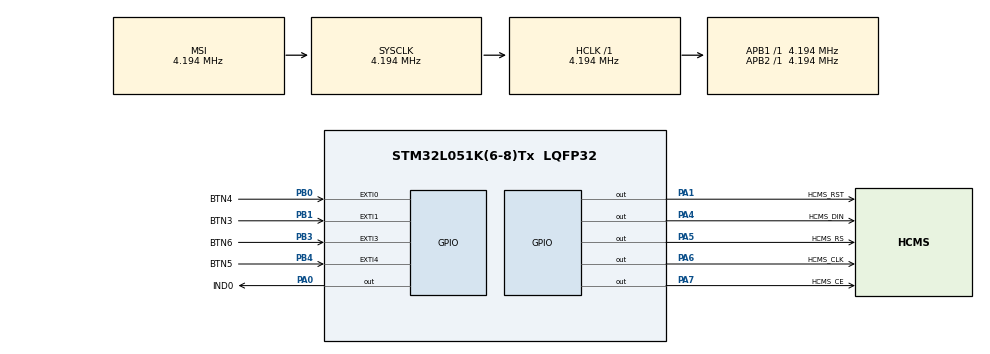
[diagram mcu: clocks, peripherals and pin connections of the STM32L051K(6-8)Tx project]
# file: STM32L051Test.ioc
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Mcu.Family=STM32L0
Mcu.Name=STM32L051K(6-8)Tx
Mcu.Package=LQFP32
NVIC.EXTI0_1_IRQn=true\:0\:0\:false\:false\:true
NVIC.EXTI2_3_IRQn=true\:0\:0\:false\:false\:true
NVIC.EXTI4_15_IRQn=true\:0\:0\:false\:false\:true
NVIC.TIM21_IRQn=true\:0\:0\:false\:false\:true
NVIC.TIM22_IRQn=true\:0\:0\:false\:false\:true
PA0.GPIO_Label=IND0
PA0.GPIO_Speed=GPIO_SPEED_FREQ_MEDIUM
PA0.Signal=GPIO_Output
PA1.GPIO_Label=HCMS_RST
PA1.GPIO_ModeDefaultOutputPP=GPIO_MODE_OUTPUT_PP
PA1.GPIO_PuPd=GPIO_NOPULL
PA1.GPIO_Speed=GPIO_SPEED_FREQ_MEDIUM
PA1.PinState=GPIO_PIN_SET
PA1.Signal=GPIO_Output
PA13.Mode=Serial_Wire
PA13.Signal=SYS_SWDIO
PA14.Mode=Serial_Wire
PA14.Signal=SYS_SWCLK
PA4.GPIO_Label=HCMS_DIN
PA4.GPIO_ModeDefaultOutputPP=GPIO_MODE_OUTPUT_PP
PA4.GPIO_PuPd=GPIO_NOPULL
PA4.GPIO_Speed=GPIO_SPEED_FREQ_MEDIUM
PA4.PinState=GPIO_PIN_SET
PA4.Signal=GPIO_Output
PA5.GPIO_Label=HCMS_RS
PA5.GPIO_ModeDefaultOutputPP=GPIO_MODE_OUTPUT_PP
PA5.GPIO_PuPd=GPIO_NOPULL
PA5.GPIO_Speed=GPIO_SPEED_FREQ_MEDIUM
PA5.PinState=GPIO_PIN_SET
PA5.Signal=GPIO_Output
PA6.GPIO_Label=HCMS_CLK
PA6.GPIO_ModeDefaultOutputPP=GPIO_MODE_OUTPUT_PP
PA6.GPIO_PuPd=GPIO_NOPULL
PA6.GPIO_Speed=GPIO_SPEED_FREQ_MEDIUM
PA6.PinState=GPIO_PIN_RESET
PA6.Signal=GPIO_Output
PA7.GPIO_Label=HCMS_CE
PA7.GPIO_ModeDefaultOutputPP=GPIO_MODE_OUTPUT_PP
PA7.GPIO_PuPd=GPIO_NOPULL
PA7.GPIO_Speed=GPIO_SPEED_FREQ_MEDIUM
PA7.PinState=GPIO_PIN_SET
PA7.Signal=GPIO_Output
PB0.GPIO_Label=BTN4
PB0.GPIO_PuPd=GPIO_PULLDOWN
PB0.Signal=GPXTI0
PB1.GPIO_Label=BTN3
PB1.GPIO_PuPd=GPIO_PULLDOWN
PB1.Signal=GPXTI1
PB3.GPIO_Label=BTN6
PB3.GPIO_PuPd=GPIO_PULLDOWN
PB3.Signal=GPXTI3
PB4.GPIO_Label=BTN5
PB4.GPIO_PuPd=GPIO_PULLDOWN
PB4.Signal=GPXTI4
PC14-OSC32_IN.Mode=LSE-External-Oscillator
PC14-OSC32_IN.Signal=RCC_OSC32_IN
PC15-OSC32_OUT.Mode=LSE-External-Oscillator
PC15-OSC32_OUT.Signal=RCC_OSC32_OUT
ProjectManager.HeapSize=0x200
ProjectManager.StackSize=0x400
ProjectManager.TargetToolchain=MDK-ARM V5
RCC.ADCFreq_Value=16000000
RCC.AHBFreq_Value=4194000
RCC.APB1Freq_Value=4194000
RCC.APB1TimFreq_Value=4194000
RCC.APB2Freq_Value=4194000
RCC.APB2TimFreq_Value=4194000
RCC.EnableCSSLSE=true
RCC.HCLKFreq_Value=4194000
RCC.HSI16_VALUE=16000000
RCC.HSI_VALUE=16000000
RCC.LSE_Drive_Capability=RCC_LSEDRIVE_LOW
RCC.MSIClockRange=RCC_MSIRANGE_6
RCC.MSI_VALUE=4194000
RCC.PLLMUL=RCC_PLLMUL_4
RCC.RTCClockSelection=RCC_RTCCLKSOURCE_LSE
RCC.RTCClockSelectionVirtual=RCC_RTCCLKSOURCE_LSE
RCC.SYSCLKFreq_VALUE=4194000
RCC.VCOOutputFreq_Value=64000000
RCC.VDD_VALUE=3.3
TIM21.Prescaler=3999
TIM22.ClockDivision=TIM_CLOCKDIVISION_DIV4
TIM22.Period=250
TIM22.Prescaler=39999
VP_RTC_VS_RTC_Activate.Mode=RTC_Enabled
VP_TIM21_VS_ClockSourceINT.Mode=Internal
VP_TIM22_VS_ClockSourceINT.Mode=Internal
board=STM32L051Test

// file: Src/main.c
/**
  ******************************************************************************
  * File Name          : main.c
  * Description        : Main program body
  ******************************************************************************
  *
  * COPYRIGHT(c) 2017 STMicroelectronics
  *
  * Redistribution and use in source and binary forms, with or without modification,
  * are permitted provided that the following conditions are met:
  *   1. Redistributions of source code must retain the above copyright notice,
  *      this list of conditions and the following disclaimer.
  *   2. Redistributions in binary form must reproduce the above copyright notice,
  *      this list of conditions and the following disclaimer in the documentation
  *      and/or other materials provided with the distribution.
  *   3. Neither the name of STMicroelectronics nor the names of its contributors
  *      may be used to endorse or promote products derived from this software
  *      without specific prior written permission.
  *
  * THIS SOFTWARE IS PROVIDED BY THE COPYRIGHT HOLDERS AND CONTRIBUTORS "AS IS"
  * AND ANY EXPRESS OR IMPLIED WARRANTIES, INCLUDING, BUT NOT LIMITED TO, THE
  * IMPLIED WARRANTIES OF MERCHANTABILITY AND FITNESS FOR A PARTICULAR PURPOSE ARE
  * DISCLAIMED. IN NO EVENT SHALL THE COPYRIGHT HOLDER OR CONTRIBUTORS BE LIABLE
  * FOR ANY DIRECT, INDIRECT, INCIDENTAL, SPECIAL, EXEMPLARY, OR CONSEQUENTIAL
  * DAMAGES (INCLUDING, BUT NOT LIMITED TO, PROCUREMENT OF SUBSTITUTE GOODS OR
  * SERVICES; LOSS OF USE, DATA, OR PROFITS; OR BUSINESS INTERRUPTION) HOWEVER
  * CAUSED AND ON ANY THEORY OF LIABILITY, WHETHER IN CONTRACT, STRICT LIABILITY,
  * OR TORT (INCLUDING NEGLIGENCE OR OTHERWISE) ARISING IN ANY WAY OUT OF THE USE
  * OF THIS SOFTWARE, EVEN IF ADVISED OF THE POSSIBILITY OF SUCH DAMAGE.
  *
  ******************************************************************************
  */
#include "main.h"
#include "stm32l0xx_hal.h"

/* USER CODE BEGIN Includes */
#include "HCMS29xx.h"
#include "HCMS29xx_Util.h"

#include "l_simple_queue.h"
#include "menu_logic.h"
#include "menu_l1_time.h"
/* USER CODE END Includes */

RTC_HandleTypeDef hrtc;

TIM_HandleTypeDef htim21;
TIM_HandleTypeDef htim22;

/* USER CODE BEGIN PV */
/* Private variables ---------------------------------------------------------*/
RTC_TimeTypeDef gtime;
RTC_DateTypeDef gdate;

uint8_t testBuffer[4*8];
m_HCMS29xx_VirtualBuffer_Create(gVirtualBuffer,8);
_m_squeue_create(uint8_t, kqueue, 10);

menu_t* currentMenu;

uint8_t gShadeEnable=0;
uint8_t gLPowerEnable=1;

uint8_t peakCurrentControl=0x02;
uint8_t gPWMControl=0x04;
uint8_t gSleepDelay=4;

uint8_t gSleep=0;

uint8_t MFA_allowInterrupt=1;

extern menu_t menu_l1_time;
extern menu_t menu_l2_apps;

/* USER CODE END PV */

void SystemClock_Config(void);
void Error_Handler(void);
static void MX_GPIO_Init(void);
static void MX_RTC_Init(void);
static void MX_TIM21_Init(void);
static void MX_TIM22_Init(void);

/* USER CODE BEGIN PFP */
/* Private function prototypes -----------------------------------------------*/

/* USER CODE END PFP */

/* USER CODE BEGIN 0 */
uint8_t testBuffer[4*8];
m_HCMS29xx_VirtualBuffer_Create(gVirtualBuffer,8);
/* USER CODE END 0 */

int main(void)
{

  /* MCU Configuration----------------------------------------------------------*/

  /* Reset of all peripherals, Initializes the Flash interface and the Systick. */
  HAL_Init();

  /* Configure the system clock */
  SystemClock_Config();

  /* Initialize all configured peripherals */
  MX_GPIO_Init();
  MX_RTC_Init();
  MX_TIM21_Init();
  MX_TIM22_Init();

  /* USER CODE BEGIN 2 */
	HAL_TIM_Base_Start_IT(&htim21);
	// HAL_TIM_Base_Start_IT(&htim22);

	HCMS29xx_VirtualBuffer_SetShadePattern(gVirtualBuffer, 4, 0xFF);
	HCMS29xx_VirtualBuffer_2Physical(gVirtualBuffer, testBuffer, 0, 0);
	HCMS29xx_Init();
	HCMS29xx_SendCWR(0x64);	// CWR0, Normal operation, 4.0 Peak Pixel Current(31%), 0% Duty Factor (100%)

	currentMenu=&menu_l2_apps;
	MFA_CALL(currentMenu,1,0);

  /* USER CODE END 2 */

  /* Infinite loop */
  while (1)
  {

  /* USER CODE BEGIN 3 */
		MFA_CALL(currentMenu,8,0);
	  if(gLPowerEnable)
			HAL_PWR_EnterSLEEPMode(PWR_LOWPOWERREGULATOR_ON, PWR_SLEEPENTRY_WFE);
	// HAL_PWR_EnterSLEEPMode(PWR_LOWPOWERREGULATOR_ON, PWR_SLEEPENTRY_WFE);
  }
  /* USER CODE END 3 */

}

/** System Clock Configuration
*/
void SystemClock_Config(void)
{

  RCC_OscInitTypeDef RCC_OscInitStruct;
  RCC_ClkInitTypeDef RCC_ClkInitStruct;
  RCC_PeriphCLKInitTypeDef PeriphClkInit;

    /**Configure the main internal regulator output voltage
    */
  __HAL_PWR_VOLTAGESCALING_CONFIG(PWR_REGULATOR_VOLTAGE_SCALE1);

    /**Initializes the CPU, AHB and APB busses clocks
    */
  RCC_OscInitStruct.OscillatorType = RCC_OSCILLATORTYPE_LSE|RCC_OSCILLATORTYPE_MSI;
  RCC_OscInitStruct.LSEState = RCC_LSE_ON;
  RCC_OscInitStruct.MSIState = RCC_MSI_ON;
  RCC_OscInitStruct.MSICalibrationValue = 0;
  RCC_OscInitStruct.MSIClockRange = RCC_MSIRANGE_6;
  RCC_OscInitStruct.PLL.PLLState = RCC_PLL_NONE;
  if (HAL_RCC_OscConfig(&RCC_OscInitStruct) != HAL_OK)
  {
    Error_Handler();
  }

    /**Initializes the CPU, AHB and APB busses clocks
    */
  RCC_ClkInitStruct.ClockType = RCC_CLOCKTYPE_HCLK|RCC_CLOCKTYPE_SYSCLK
                              |RCC_CLOCKTYPE_PCLK1|RCC_CLOCKTYPE_PCLK2;
  RCC_ClkInitStruct.SYSCLKSource = RCC_SYSCLKSOURCE_MSI;
  RCC_ClkInitStruct.AHBCLKDivider = RCC_SYSCLK_DIV1;
  RCC_ClkInitStruct.APB1CLKDivider = RCC_HCLK_DIV1;
  RCC_ClkInitStruct.APB2CLKDivider = RCC_HCLK_DIV1;

  if (HAL_RCC_ClockConfig(&RCC_ClkInitStruct, FLASH_LATENCY_0) != HAL_OK)
  {
    Error_Handler();
  }

  PeriphClkInit.PeriphClockSelection = RCC_PERIPHCLK_RTC;
  PeriphClkInit.RTCClockSelection = RCC_RTCCLKSOURCE_LSE;
  if (HAL_RCCEx_PeriphCLKConfig(&PeriphClkInit) != HAL_OK)
  {
    Error_Handler();
  }

    /**Enables the Clock Security System
    */
  HAL_RCCEx_EnableLSECSS();

    /**Configure LSE Drive Capability
    */
  __HAL_RCC_LSEDRIVE_CONFIG(RCC_LSEDRIVE_LOW);

    /**Configure the Systick interrupt time
    */
  HAL_SYSTICK_Config(HAL_RCC_GetHCLKFreq()/1000);

    /**Configure the Systick
    */
  HAL_SYSTICK_CLKSourceConfig(SYSTICK_CLKSOURCE_HCLK);

  /* SysTick_IRQn interrupt configuration */
  HAL_NVIC_SetPriority(SysTick_IRQn, 0, 0);
}

/* RTC init function */
static void MX_RTC_Init(void)
{

    /**Initialize RTC Only
    */
  hrtc.Instance = RTC;
  hrtc.Init.HourFormat = RTC_HOURFORMAT_24;
  hrtc.Init.AsynchPrediv = 127;
  hrtc.Init.SynchPrediv = 255;
  hrtc.Init.OutPut = RTC_OUTPUT_DISABLE;
  hrtc.Init.OutPutRemap = RTC_OUTPUT_REMAP_NONE;
  hrtc.Init.OutPutPolarity = RTC_OUTPUT_POLARITY_HIGH;
  hrtc.Init.OutPutType = RTC_OUTPUT_TYPE_OPENDRAIN;
  if (HAL_RTC_Init(&hrtc) != HAL_OK)
  {
    Error_Handler();
  }

}

/* TIM21 init function */
static void MX_TIM21_Init(void)
{

  TIM_ClockConfigTypeDef sClockSourceConfig;
  TIM_MasterConfigTypeDef sMasterConfig;

  htim21.Instance = TIM21;
  htim21.Init.Prescaler = 3999;
  htim21.Init.CounterMode = TIM_COUNTERMODE_UP;
  htim21.Init.Period = 0;
  htim21.Init.ClockDivision = TIM_CLOCKDIVISION_DIV1;
  if (HAL_TIM_Base_Init(&htim21) != HAL_OK)
  {
    Error_Handler();
  }

  sClockSourceConfig.ClockSource = TIM_CLOCKSOURCE_INTERNAL;
  if (HAL_TIM_ConfigClockSource(&htim21, &sClockSourceConfig) != HAL_OK)
  {
    Error_Handler();
  }

  sMasterConfig.MasterOutputTrigger = TIM_TRGO_RESET;
  sMasterConfig.MasterSlaveMode = TIM_MASTERSLAVEMODE_DISABLE;
  if (HAL_TIMEx_MasterConfigSynchronization(&htim21, &sMasterConfig) != HAL_OK)
  {
    Error_Handler();
  }

}

/* TIM22 init function */
static void MX_TIM22_Init(void)
{

  TIM_ClockConfigTypeDef sClockSourceConfig;
  TIM_MasterConfigTypeDef sMasterConfig;

  htim22.Instance = TIM22;
  htim22.Init.Prescaler = 39999;
  htim22.Init.CounterMode = TIM_COUNTERMODE_DOWN;
  htim22.Init.Period = 25000;
  htim22.Init.ClockDivision = TIM_CLOCKDIVISION_DIV4;
  if (HAL_TIM_Base_Init(&htim22) != HAL_OK)
  {
    Error_Handler();
  }

  sClockSourceConfig.ClockSource = TIM_CLOCKSOURCE_INTERNAL;
  if (HAL_TIM_ConfigClockSource(&htim22, &sClockSourceConfig) != HAL_OK)
  {
    Error_Handler();
  }

  sMasterConfig.MasterOutputTrigger = TIM_TRGO_RESET;
  sMasterConfig.MasterSlaveMode = TIM_MASTERSLAVEMODE_DISABLE;
  if (HAL_TIMEx_MasterConfigSynchronization(&htim22, &sMasterConfig) != HAL_OK)
  {
    Error_Handler();
  }

}

/** Configure pins as
        * Analog
        * Input
        * Output
        * EVENT_OUT
        * EXTI
        * Free pins are configured automatically as Analog (this feature is enabled through
        * the Code Generation settings)
*/
static void MX_GPIO_Init(void)
{

  GPIO_InitTypeDef GPIO_InitStruct;

  /* GPIO Ports Clock Enable */
  __HAL_RCC_GPIOC_CLK_ENABLE();
  __HAL_RCC_GPIOA_CLK_ENABLE();
  __HAL_RCC_GPIOB_CLK_ENABLE();

  /*Configure GPIO pin Output Level */
  HAL_GPIO_WritePin(GPIOA, IND0_Pin|HCMS_CLK_Pin, GPIO_PIN_RESET);

  /*Configure GPIO pin Output Level */
  HAL_GPIO_WritePin(GPIOA, HCMS_RST_Pin|HCMS_DIN_Pin|HCMS_RS_Pin|HCMS_CE_Pin, GPIO_PIN_SET);

  /*Configure GPIO pins : IND0_Pin HCMS_RST_Pin HCMS_DIN_Pin HCMS_RS_Pin
                           HCMS_CLK_Pin HCMS_CE_Pin */
  GPIO_InitStruct.Pin = IND0_Pin|HCMS_RST_Pin|HCMS_DIN_Pin|HCMS_RS_Pin
                          |HCMS_CLK_Pin|HCMS_CE_Pin;
  GPIO_InitStruct.Mode = GPIO_MODE_OUTPUT_PP;
  GPIO_InitStruct.Pull = GPIO_NOPULL;
  GPIO_InitStruct.Speed = GPIO_SPEED_FREQ_MEDIUM;
  HAL_GPIO_Init(GPIOA, &GPIO_InitStruct);

  /*Configure GPIO pins : PA2 PA3 PA8 PA9
                           PA10 PA11 PA12 PA15 */
  GPIO_InitStruct.Pin = GPIO_PIN_2|GPIO_PIN_3|GPIO_PIN_8|GPIO_PIN_9
                          |GPIO_PIN_10|GPIO_PIN_11|GPIO_PIN_12|GPIO_PIN_15;
  GPIO_InitStruct.Mode = GPIO_MODE_ANALOG;
  GPIO_InitStruct.Pull = GPIO_NOPULL;
  HAL_GPIO_Init(GPIOA, &GPIO_InitStruct);

  /*Configure GPIO pins : BTN4_Pin BTN3_Pin BTN6_Pin BTN5_Pin */
  GPIO_InitStruct.Pin = BTN4_Pin|BTN3_Pin|BTN6_Pin|BTN5_Pin;
  GPIO_InitStruct.Mode = GPIO_MODE_IT_RISING;
  GPIO_InitStruct.Pull = GPIO_PULLDOWN;
  HAL_GPIO_Init(GPIOB, &GPIO_InitStruct);

  /*Configure GPIO pins : PB5 PB6 PB7 */
  GPIO_InitStruct.Pin = GPIO_PIN_5|GPIO_PIN_6|GPIO_PIN_7;
  GPIO_InitStruct.Mode = GPIO_MODE_ANALOG;
  GPIO_InitStruct.Pull = GPIO_NOPULL;
  HAL_GPIO_Init(GPIOB, &GPIO_InitStruct);

  /* EXTI interrupt init*/
  HAL_NVIC_SetPriority(EXTI0_1_IRQn, 0, 0);
  HAL_NVIC_EnableIRQ(EXTI0_1_IRQn);

  HAL_NVIC_SetPriority(EXTI2_3_IRQn, 0, 0);
  HAL_NVIC_EnableIRQ(EXTI2_3_IRQn);

  HAL_NVIC_SetPriority(EXTI4_15_IRQn, 0, 0);
  HAL_NVIC_EnableIRQ(EXTI4_15_IRQn);

}

void Error_Handler(void)
{
  while(1)
  {
  }
}

/************************ (C) COPYRIGHT STMicroelectronics *****END OF FILE****/
